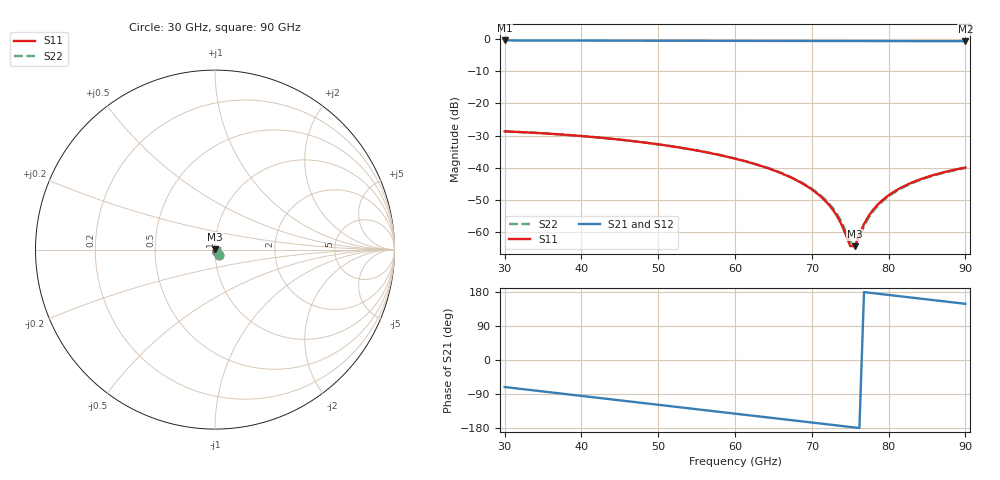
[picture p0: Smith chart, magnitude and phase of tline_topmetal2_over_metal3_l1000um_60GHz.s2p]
#  GHZ S DB R 50
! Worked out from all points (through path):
!   101 points, 30 GHz to 90 GHz, reference 50 ohm
!   highest |S21| = -0.42 dB at 30 GHz (marker M1); lowest = -0.7 dB at 90 GHz (marker M2)
!   group delay of S21, straight-line fit = 6.5 ps
!   lowest |S11| = -64.3 dB at 75.6 GHz (marker M3), VSWR 1.00, Z = 50 + j0.0582 ohm
!   |S11| at or under -10 dB: start of sweep to end of sweep
!   |S22| runs from -64.2 to -28.7 dB; largest |S21 - S12| = 1.1e-14
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30  -28.66 -55.7  -0.42 -71.3  -0.42 -71.3  -28.65 -55.8
35.4  -29.32 -69.7  -0.45 -84.0  -0.45 -84.0  -29.31 -69.8
40.2  -30.15 -82.2  -0.47 -95.2  -0.47 -95.2  -30.13 -82.4
45  -31.23 -94.7  -0.49 -106.5  -0.49 -106.5  -31.21 -94.9
50.4  -32.83 -109.0  -0.51 -119.1  -0.51 -119.1  -32.80 -109.2
55.8  -34.95 -123.3  -0.53 -131.7  -0.53 -131.7  -34.91 -123.6
60  -37.12 -134.8  -0.55 -141.6  -0.55 -141.6  -37.06 -135.1
66  -41.64 -152.0  -0.57 -155.6  -0.57 -155.6  -41.54 -152.5
68.4  -44.34 -159.7  -0.58 -161.2  -0.58 -161.2  -44.18 -160.2
70.2  -47.04 -166.3  -0.59 -165.4  -0.59 -165.4  -46.82 -167.0
71.4  -49.39 -171.7  -0.59 -168.2  -0.59 -168.2  -49.10 -172.4
72.6  -52.53 -179.1  -0.60 -171.0  -0.60 -171.0  -52.10 -179.8
73.8  -57.20 167.6  -0.60 -173.8  -0.60 -173.8  -56.44 167.4
75  -64.27 122.6  -0.60 -176.7  -0.60 -176.7  -62.96 129.4
75.6  -64.30 72.9  -0.61 -178.1  -0.61 -178.1  -64.15 84.7
76.8  -57.42 28.0  -0.61 179.1  -0.61 179.1  -58.01 32.1
77.4  -54.92 20.1  -0.61 177.7  -0.61 177.7  -55.43 22.7
78.6  -51.36 10.7  -0.62 174.9  -0.62 174.9  -51.73 12.1
80.4  -47.85 2.0  -0.62 170.7  -0.62 170.7  -48.12 2.7
82.2  -45.45 -4.7  -0.63 166.5  -0.63 166.5  -45.67 -4.3
84.6  -43.15 -12.4  -0.64 160.9  -0.64 160.9  -43.33 -12.3
90  -39.89 -28.2  -0.66 148.3  -0.66 148.3  -40.03 -28.2
